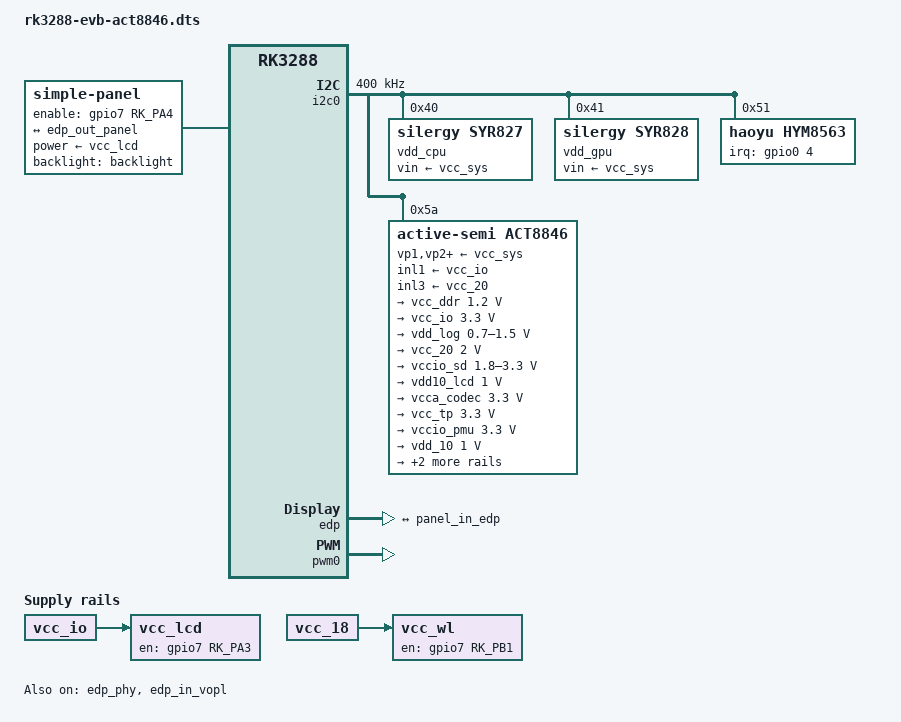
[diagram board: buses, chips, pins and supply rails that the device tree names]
// SPDX-License-Identifier: (GPL-2.0+ OR MIT)

/dts-v1/;
#include "rk3288-evb.dtsi"

/ {
	compatible = "rockchip,rk3288-evb-act8846", "rockchip,rk3288";

	panel {
		compatible = "simple-panel";
		backlight = <&backlight>;
		power-supply = <&vcc_lcd>;
		enable-gpios = <&gpio7 RK_PA4 GPIO_ACTIVE_HIGH>;
		prepare-delay-ms = <120>;

		display-timings {
			native-mode = <&timing0>;

			timing0: timing0 {
				clock-frequency = <200000000>;
				hactive = <1536>;
				vactive = <2048>;
				hfront-porch = <12>;
				hsync-len = <16>;
				hback-porch = <48>;
				vfront-porch = <8>;
				vsync-len = <4>;
				vback-porch = <8>;
				hsync-active = <0>;
				vsync-active = <0>;
				de-active = <0>;
				pixelclk-active = <0>;
			};
		};

		port {
			panel_in_edp: endpoint {
				remote-endpoint = <&edp_out_panel>;
			};
		};
	};

	vcc_lcd: vcc-lcd {
		compatible = "regulator-fixed";
		enable-active-high;
		gpio = <&gpio7 RK_PA3 GPIO_ACTIVE_HIGH>;
		pinctrl-names = "default";
		pinctrl-0 = <&lcd_en>;
		regulator-name = "vcc_lcd";
		vin-supply = <&vcc_io>;
	};

	vcc_wl: vcc-wl {
		compatible = "regulator-fixed";
		enable-active-high;
		gpio = <&gpio7 RK_PB1 GPIO_ACTIVE_HIGH>;
		pinctrl-names = "default";
		pinctrl-0 = <&wifi_pwr>;
		regulator-name = "vcc_wl";
		vin-supply = <&vcc_18>;
	};
};

&backlight {
	enable-gpios = <&gpio7 RK_PA2 GPIO_ACTIVE_HIGH>;
	pinctrl-names = "default";
	pinctrl-0 = <&bl_en>;
	pwms = <&pwm0 0 1000000 PWM_POLARITY_INVERTED>;
};

&i2c0 {
	clock-frequency = <400000>;

	vdd_cpu: syr827@40 {
		compatible = "silergy,syr827";
		fcs,suspend-voltage-selector = <1>;
		reg = <0x40>;
		regulator-name = "vdd_cpu";
		regulator-min-microvolt = <850000>;
		regulator-max-microvolt = <1350000>;
		regulator-always-on;
		regulator-boot-on;
		vin-supply = <&vcc_sys>;
	};

	vdd_gpu: syr828@41 {
		compatible = "silergy,syr828";
		fcs,suspend-voltage-selector = <1>;
		reg = <0x41>;
		regulator-name = "vdd_gpu";
		regulator-min-microvolt = <850000>;
		regulator-max-microvolt = <1350000>;
		regulator-always-on;
		vin-supply = <&vcc_sys>;
	};

	hym8563@51 {
		compatible = "haoyu,hym8563";
		reg = <0x51>;

		interrupt-parent = <&gpio0>;
		interrupts = <RK_PA4 IRQ_TYPE_EDGE_FALLING>;

		pinctrl-names = "default";
		pinctrl-0 = <&pmic_int>;

		#clock-cells = <0>;
		clock-output-names = "xin32k";
	};

	hym8563: hym8563@51 {
		compatible = "haoyu,hym8563";
		reg = <0x51>;

		interrupt-parent = <&gpio0>;
		interrupts = <4 IRQ_TYPE_EDGE_FALLING>;

		pinctrl-names = "default";
		pinctrl-0 = <&pmic_int>;

		#clock-cells = <0>;
		clock-output-names = "xin32k";
	};

	act8846: act8846@5a {
		compatible = "active-semi,act8846";
		reg = <0x5a>;
		status = "okay";

		vp1-supply = <&vcc_sys>;
		vp2-supply = <&vcc_sys>;
		vp3-supply = <&vcc_sys>;
		vp4-supply = <&vcc_sys>;
		inl1-supply = <&vcc_io>;
		inl2-supply = <&vcc_sys>;
		inl3-supply = <&vcc_20>;

		regulators {
			vcc_ddr: REG1 {
				regulator-name = "VCC_DDR";
				regulator-min-microvolt = <1200000>;
				regulator-max-microvolt = <1200000>;
				regulator-always-on;
			};

			vcc_io: REG2 {
				regulator-name = "VCC_IO";
				regulator-min-microvolt = <3300000>;
				regulator-max-microvolt = <3300000>;
				regulator-always-on;
			};

			vdd_log: REG3 {
				regulator-name = "VDD_LOG";
				regulator-min-microvolt = <700000>;
				regulator-max-microvolt = <1500000>;
				regulator-always-on;
			};

			vcc_20: REG4 {
				regulator-name = "VCC_20";
				regulator-min-microvolt = <2000000>;
				regulator-max-microvolt = <2000000>;
				regulator-always-on;
			};

			vccio_sd: REG5 {
				regulator-name = "VCCIO_SD";
				regulator-min-microvolt = <1800000>;
				regulator-max-microvolt = <3300000>;
				regulator-always-on;
			};

			vdd10_lcd: REG6 {
				regulator-name = "VDD10_LCD";
				regulator-min-microvolt = <1000000>;
				regulator-max-microvolt = <1000000>;
				regulator-always-on;
			};

			vcca_codec: REG7 {
				regulator-name = "VCCA_CODEC";
				regulator-min-microvolt = <3300000>;
				regulator-max-microvolt = <3300000>;
				regulator-always-on;
			};

			vcc_tp: REG8 {
				regulator-name = "VCCA_TP";
				regulator-min-microvolt = <3300000>;
				regulator-max-microvolt = <3300000>;
				regulator-always-on;
			};

			vccio_pmu: REG9 {
				regulator-name = "VCCIO_PMU";
				regulator-min-microvolt = <3300000>;
				regulator-max-microvolt = <3300000>;
				regulator-always-on;
			};

			vdd_10: REG10 {
				regulator-name = "VDD_10";
				regulator-min-microvolt = <1000000>;
				regulator-max-microvolt = <1000000>;
				regulator-always-on;
			};

			vcc_18: REG11 {
				regulator-name = "VCC_18";
				regulator-min-microvolt = <1800000>;
				regulator-max-microvolt = <1800000>;
				regulator-always-on;
			};

			vcc18_lcd: REG12 {
				regulator-name = "VCC18_LCD";
				regulator-min-microvolt = <1800000>;
				regulator-max-microvolt = <1800000>;
				regulator-always-on;
			};
		};
	};

	sdio_pwrseq: sdio-pwrseq {
		compatible = "mmc-pwrseq-simple";
		clocks = <&hym8563>;
		clock-names = "ext_clock";
		pinctrl-names = "default";
		pinctrl-0 = <&wifi_enable_h>;

		/*
		 * On the module itself this is one of these (depending
		 * on the actual card populated):
		 * - SDIO_RESET_L_WL_REG_ON
		 * - PDN (power down when low)
		 */
		reset-gpios = <&gpio4 28 GPIO_ACTIVE_LOW>;
	};
};

&edp {
	force-hpd;
	status = "okay";

	ports {
		port@1 {
			reg = <1>;

			edp_out_panel: endpoint {
				remote-endpoint = <&panel_in_edp>;
			};
		};
	};
};

&edp_phy {
	status = "okay";
};

&edp_in_vopb {
	status = "disabled";
};

&edp_in_vopl {
	status = "okay";
};

&pwm0 {
	status = "okay";
};

&pinctrl {
	backlight {
		bl_en: bl-en {
			rockchip,pins = <7 2 RK_FUNC_GPIO &pcfg_pull_none>;
		};
	};

	lcd {
		lcd_en: lcd-en  {
			rockchip,pins = <7 3 RK_FUNC_GPIO &pcfg_pull_none>;
		};
	};

	wifi {
		wifi_pwr: wifi-pwr {
			rockchip,pins = <7 9 RK_FUNC_GPIO &pcfg_pull_none>;
		};
	};
};
